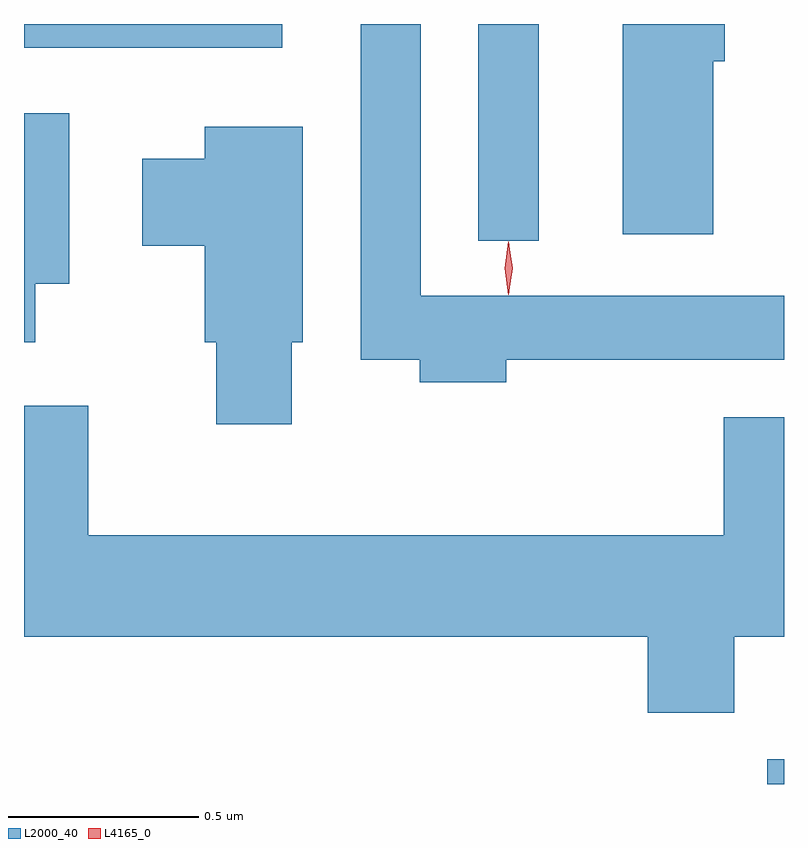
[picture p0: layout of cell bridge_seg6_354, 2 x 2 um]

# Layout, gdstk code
import gdstk
lib = gdstk.Library(unit=1e-6, precision=1e-09)
def R(c, l, rs):  # rectangles x0, y0, x1, y1
    for r in rs: c.add(gdstk.rectangle(r[:2], r[2:], *l))
def P(c, l, *ps):  # polygons
    for p in ps: c.add(gdstk.Polygon(p, *l))
L2000_40 = (2000, 40)
L4165_0 = (4165, 0)

bridge_seg6_354 = lib.new_cell('bridge_seg6_354')
R(bridge_seg6_354, L2000_40, [(1316.756,1551.869,1316.8,1551.934), (1315.996,1553.298,1316.154,1553.869), (1314.8,1553.806,1315.479,1553.869)])
P(bridge_seg6_354, L2000_40, [(1316.614,1553.771),(1316.644,1553.771),(1316.644,1553.869),(1316.376,1553.869),(1316.376,1553.316),(1316.614,1553.316)],
  [(1316.069,1552.986),(1316.8,1552.986),(1316.8,1553.154),(1315.844,1553.154),(1315.844,1553.869),(1315.686,1553.869),(1315.686,1552.986),(1315.841,1552.986),(1315.841,1552.926),(1316.069,1552.926)],
  [(1314.829,1553.186),(1314.919,1553.186),(1314.919,1553.634),(1314.8,1553.634),(1314.8,1553.031),(1314.829,1553.031)],
  [(1315.504,1553.031),(1315.534,1553.031),(1315.534,1553.599),(1315.276,1553.599),(1315.276,1553.514),(1315.111,1553.514),(1315.111,1553.286),(1315.276,1553.286),(1315.276,1553.031),(1315.306,1553.031),(1315.306,1552.816),(1315.504,1552.816)],
  [(1316.669,1552.256),(1316.8,1552.256),(1316.8,1552.834),(1316.641,1552.834),(1316.641,1552.524),(1314.969,1552.524),(1314.969,1552.864),(1314.8,1552.864),(1314.8,1552.256),(1316.441,1552.256),(1316.441,1552.056),(1316.669,1552.056)])
P(bridge_seg6_354, L4165_0, [(1316.075,1553.159),(1316.075,1553.16),(1316.065,1553.226),(1316.075,1553.292),(1316.075,1553.293),(1316.076,1553.292),(1316.086,1553.226),(1316.076,1553.16)],
  [(1316.074,1553.157),(1316.065,1553.226),(1316.074,1553.296),(1316.075,1553.296),(1316.075,1553.296),(1316.085,1553.226),(1316.075,1553.157),(1316.075,1553.157)])

lib.write_gds('bridge_seg6_354.gds')
